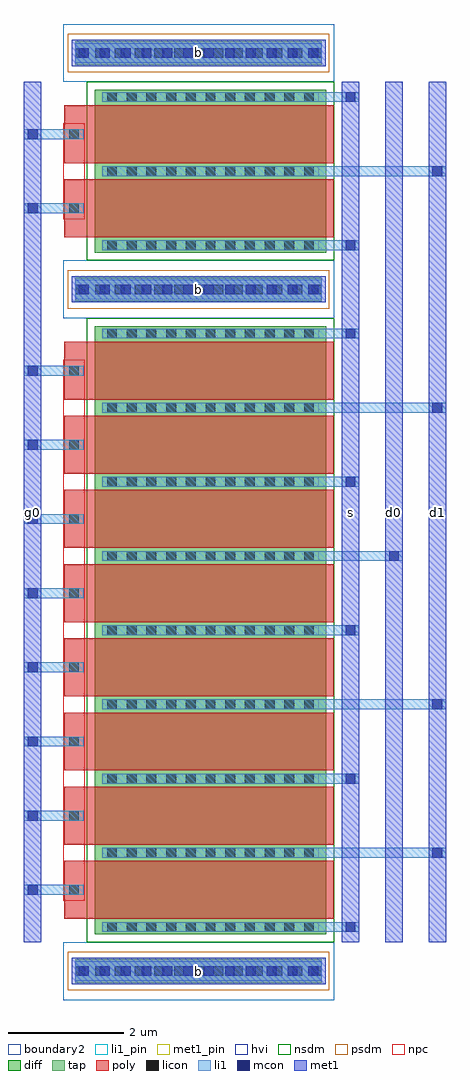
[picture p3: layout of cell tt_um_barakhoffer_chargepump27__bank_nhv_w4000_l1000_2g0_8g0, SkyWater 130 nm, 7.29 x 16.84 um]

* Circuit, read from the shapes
.subckt tt_um_barakhoffer_chargepump27__bank_nhv_w4000_l1000_2g0_8g0 b d0 d1 g0 s
XM1 d1 g0 s b sky130_fd_pr__nfet_g5v0d10v5 w=4 l=1 m=8
XM2 d0 g0 s b sky130_fd_pr__nfet_g5v0d10v5 w=4 l=1 m=2
.ends

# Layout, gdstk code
import gdstk
lib = gdstk.Library(unit=1e-6, precision=1e-09)
def R(c, l, rs):  # rectangles x0, y0, x1, y1
    for r in rs: c.add(gdstk.rectangle(r[:2], r[2:], *l))
def A(c, l, x, y, w, h, nx, ny, dx, dy):  # array of equal rectangles
    R(c, l, [(x+i*dx, y+j*dy, x+i*dx+w, y+j*dy+h) for i in range(nx) for j in range(ny)])
diff = (65, 20)
tap = (65, 44)
poly = (66, 20)
licon = (66, 44)
li1_pin = (67, 16)
li1 = (67, 20)
mcon = (67, 44)
met1_pin = (68, 16)
met1 = (68, 20)
hvi = (75, 20)
nsdm = (93, 44)
psdm = (94, 20)
npc = (95, 20)
boundary2 = (236, 0)

tt_um_barakhoffer_charge = lib.new_cell('tt_um_barakhoffer_chargepump27__mos_13')
A(tt_um_barakhoffer_charge, diff, 0.155, 0, 3.69, 0.25, 1, 9, 0, 1.28)
R(tt_um_barakhoffer_charge, diff, [(0,0,4,10.49)])
A(tt_um_barakhoffer_charge, poly, -0.52, 0.265, 0.33, 1, 1, 8, 0, 1.28)
A(tt_um_barakhoffer_charge, poly, -0.19, 0.265, 4.32, 1, 1, 8, 0, 1.28)
A(tt_um_barakhoffer_charge, poly, -0.52, 0.63, 0.33, 0.27, 1, 8, 0, 1.28)
A(tt_um_barakhoffer_charge, licon, 0.215, 0.04, 0.17, 0.17, 11, 9, 0.34, 1.28)
A(tt_um_barakhoffer_charge, licon, -0.44, 0.68, 0.17, 0.17, 1, 8, 0, 1.28)
A(tt_um_barakhoffer_charge, li1_pin, 0.135, 0.04, 3.73, 0.17, 1, 9, 0, 1.28)
A(tt_um_barakhoffer_charge, li1_pin, -0.52, 0.68, 0.33, 0.17, 1, 8, 0, 1.28)
R(tt_um_barakhoffer_charge, li1, [(0.135,0.04,3.865,0.21), (0.135,0.04,3.865,0.21), (-0.52,0.68,-0.19,0.85), (-0.52,0.68,-0.19,0.85), (0.135,1.32,3.865,1.49), (0.135,1.32,3.865,1.49), (-0.52,1.96,-0.19,2.13), (-0.52,1.96,-0.19,2.13), (0.135,2.6,3.865,2.77), (0.135,2.6,3.865,2.77), (-0.52,3.24,-0.19,3.41), (-0.52,3.24,-0.19,3.41), (0.135,3.88,3.865,4.05), (0.135,3.88,3.865,4.05), (-0.52,4.52,-0.19,4.69), (-0.52,4.52,-0.19,4.69), (0.135,5.16,3.865,5.33), (0.135,5.16,3.865,5.33), (-0.52,5.8,-0.19,5.97), (-0.52,5.8,-0.19,5.97), (0.135,6.44,3.865,6.61), (0.135,6.44,3.865,6.61), (-0.52,7.08,-0.19,7.25), (-0.52,7.08,-0.19,7.25), (0.135,7.72,3.865,7.89), (0.135,7.72,3.865,7.89), (-0.52,8.36,-0.19,8.53), (-0.52,8.36,-0.19,8.53), (0.135,9,3.865,9.17), (0.135,9,3.865,9.17), (-0.52,9.64,-0.19,9.81), (-0.52,9.64,-0.19,9.81), (0.135,10.28,3.865,10.45), (0.135,10.28,3.865,10.45)])
R(tt_um_barakhoffer_charge, hvi, [(-0.135,-0.135,4.135,10.625)])
R(tt_um_barakhoffer_charge, nsdm, [(-0.135,-0.135,4.135,10.625)])
A(tt_um_barakhoffer_charge, npc, -0.54, 0.58, 0.37, 0.37, 1, 8, 0, 1.28)
R(tt_um_barakhoffer_charge, npc, [(-0.54,0.58,-0.17,9.91)])
tt_um_barakhoffer_charge.add(gdstk.Label('gate_1', (-0.355,2.045), layer=67, texttype=5))
tt_um_barakhoffer_charge.add(gdstk.Label('gate_2', (-0.355,3.325), layer=67, texttype=5))
tt_um_barakhoffer_charge.add(gdstk.Label('sd_0_4', (2,5.245), layer=67, texttype=5))
tt_um_barakhoffer_charge.add(gdstk.Label('sd_0_1', (2,1.405), layer=67, texttype=5))
tt_um_barakhoffer_charge.add(gdstk.Label('sd_0_5', (2,6.525), layer=67, texttype=5))
tt_um_barakhoffer_charge.add(gdstk.Label('gate_3', (-0.355,4.605), layer=67, texttype=5))
tt_um_barakhoffer_charge.add(gdstk.Label('gate_7', (-0.355,9.725), layer=67, texttype=5))
tt_um_barakhoffer_charge.add(gdstk.Label('sd_0_2', (2,2.685), layer=67, texttype=5))
tt_um_barakhoffer_charge.add(gdstk.Label('gate_4', (-0.355,5.885), layer=67, texttype=5))
tt_um_barakhoffer_charge.add(gdstk.Label('sd_0_6', (2,7.805), layer=67, texttype=5))
tt_um_barakhoffer_charge.add(gdstk.Label('sd_0_3', (2,3.965), layer=67, texttype=5))
tt_um_barakhoffer_charge.add(gdstk.Label('sd_0_7', (2,9.085), layer=67, texttype=5))
tt_um_barakhoffer_charge.add(gdstk.Label('sd_0_8', (2,10.365), layer=67, texttype=5))
tt_um_barakhoffer_charge.add(gdstk.Label('sd_0_0', (2,0.125), layer=67, texttype=5))
tt_um_barakhoffer_charge.add(gdstk.Label('gate_6', (-0.355,8.445), layer=67, texttype=5))
tt_um_barakhoffer_charge.add(gdstk.Label('gate_5', (-0.355,7.165), layer=67, texttype=5))
tt_um_barakhoffer_charge.add(gdstk.Label('gate_0', (-0.355,0.765), layer=67, texttype=5))

c_tt_um_barakhoffer_charge = lib.new_cell('tt_um_barakhoffer_chargepump27__mos_14')
A(c_tt_um_barakhoffer_charge, diff, 0.155, 0, 3.69, 0.25, 1, 3, 0, 1.28)
R(c_tt_um_barakhoffer_charge, diff, [(0,0,4,2.81)])
R(c_tt_um_barakhoffer_charge, poly, [(-0.52,0.265,-0.19,1.265), (-0.19,0.265,4.13,1.265), (-0.52,0.63,-0.19,0.9), (-0.52,1.545,-0.19,2.545), (-0.19,1.545,4.13,2.545), (-0.52,1.91,-0.19,2.18)])
A(c_tt_um_barakhoffer_charge, licon, 0.215, 0.04, 0.17, 0.17, 11, 3, 0.34, 1.28)
R(c_tt_um_barakhoffer_charge, licon, [(-0.44,0.68,-0.27,0.85), (-0.44,1.96,-0.27,2.13)])
A(c_tt_um_barakhoffer_charge, li1_pin, 0.135, 0.04, 3.73, 0.17, 1, 3, 0, 1.28)
R(c_tt_um_barakhoffer_charge, li1_pin, [(-0.52,0.68,-0.19,0.85), (-0.52,1.96,-0.19,2.13)])
R(c_tt_um_barakhoffer_charge, li1, [(0.135,0.04,3.865,0.21), (0.135,0.04,3.865,0.21), (-0.52,0.68,-0.19,0.85), (-0.52,0.68,-0.19,0.85), (0.135,1.32,3.865,1.49), (0.135,1.32,3.865,1.49), (-0.52,1.96,-0.19,2.13), (-0.52,1.96,-0.19,2.13), (0.135,2.6,3.865,2.77), (0.135,2.6,3.865,2.77)])
R(c_tt_um_barakhoffer_charge, hvi, [(-0.135,-0.135,4.135,2.945)])
R(c_tt_um_barakhoffer_charge, nsdm, [(-0.135,-0.135,4.135,2.945)])
R(c_tt_um_barakhoffer_charge, npc, [(-0.54,0.58,-0.17,0.95), (-0.54,0.58,-0.17,2.23), (-0.54,1.86,-0.17,2.23)])
c_tt_um_barakhoffer_charge.add(gdstk.Label('sd_0_1', (2,1.405), layer=67, texttype=5))
c_tt_um_barakhoffer_charge.add(gdstk.Label('sd_0_2', (2,2.685), layer=67, texttype=5))
c_tt_um_barakhoffer_charge.add(gdstk.Label('sd_0_0', (2,0.125), layer=67, texttype=5))
c_tt_um_barakhoffer_charge.add(gdstk.Label('gate_1', (-0.355,2.045), layer=67, texttype=5))
c_tt_um_barakhoffer_charge.add(gdstk.Label('gate_0', (-0.355,0.765), layer=67, texttype=5))

c_tt_um_barakhoffer_charge_ = lib.new_cell('tt_um_barakhoffer_chargepump27__bank_nhv_w4000_l1000_2g0_8g0')
R(c_tt_um_barakhoffer_charge_, tap, [(0.21,0.295,4.46,0.705), (0.21,12.055,4.46,12.465), (0.21,16.135,4.46,16.545)])
A(c_tt_um_barakhoffer_charge_, licon, 0.21, 0.415, 0.17, 0.17, 13, 2, 0.34, 11.76)
A(c_tt_um_barakhoffer_charge_, licon, 0.21, 16.255, 0.17, 0.17, 13, 1, 0.34, 0)
A(c_tt_um_barakhoffer_charge_, li1, 0.675, 1.175, 4.43, 0.17, 1, 5, 0, 2.56)
A(c_tt_um_barakhoffer_charge_, li1, 4.87, 1.175, 0.17, 0.17, 1, 5, 0, 2.56)
A(c_tt_um_barakhoffer_charge_, li1, -0.68, 1.815, 1.03, 0.17, 1, 8, 0, 1.28)
A(c_tt_um_barakhoffer_charge_, li1, -0.615, 1.815, 0.17, 0.17, 1, 8, 0, 1.28)
R(c_tt_um_barakhoffer_charge_, li1, [(0.21,0.335,4.46,0.665), (0.27,0.415,4.4,0.585), (0.675,2.455,6.605,2.625), (6.37,2.455,6.54,2.625), (0.675,5.015,6.605,5.185), (6.37,5.015,6.54,5.185), (0.675,7.575,5.855,7.745), (5.62,7.575,5.79,7.745), (0.675,10.135,6.605,10.305), (6.37,10.135,6.54,10.305), (0.21,12.095,4.46,12.425), (0.27,12.175,4.4,12.345), (0.675,12.935,5.105,13.105), (4.87,12.935,5.04,13.105), (-0.68,13.575,0.35,13.745), (-0.615,13.575,-0.445,13.745), (0.675,14.215,6.605,14.385), (6.37,14.215,6.54,14.385), (-0.68,14.855,0.35,15.025), (-0.615,14.855,-0.445,15.025), (0.675,15.495,5.105,15.665), (4.87,15.495,5.04,15.665), (0.21,16.175,4.46,16.505), (0.27,16.255,4.4,16.425)])
A(c_tt_um_barakhoffer_charge_, mcon, 0.27, 0.415, 0.17, 0.17, 12, 2, 0.36, 11.76)
A(c_tt_um_barakhoffer_charge_, mcon, 4.87, 1.175, 0.17, 0.17, 1, 5, 0, 2.56)
A(c_tt_um_barakhoffer_charge_, mcon, -0.615, 1.815, 0.17, 0.17, 1, 8, 0, 1.28)
A(c_tt_um_barakhoffer_charge_, mcon, 0.27, 16.255, 0.17, 0.17, 12, 1, 0.36, 0)
R(c_tt_um_barakhoffer_charge_, mcon, [(6.37,2.455,6.54,2.625), (6.37,5.015,6.54,5.185), (5.62,7.575,5.79,7.745), (6.37,10.135,6.54,10.305), (4.87,12.935,5.04,13.105), (-0.615,13.575,-0.445,13.745), (6.37,14.215,6.54,14.385), (-0.615,14.855,-0.445,15.025), (4.87,15.495,5.04,15.665)])
A(c_tt_um_barakhoffer_charge_, met1_pin, 4.805, 1, 0.3, 14.84, 3, 1, 0.75, 0)
R(c_tt_um_barakhoffer_charge_, met1_pin, [(0.15,0.275,4.525,0.725), (-0.68,1,-0.38,15.84), (0.15,12.035,4.525,12.485), (0.15,16.115,4.525,16.565)])
A(c_tt_um_barakhoffer_charge_, met1, 4.81, 1.145, 0.29, 0.23, 1, 5, 0, 2.56)
A(c_tt_um_barakhoffer_charge_, met1, -0.675, 1.785, 0.29, 0.23, 1, 8, 0, 1.28)
R(c_tt_um_barakhoffer_charge_, met1, [(0.15,0.275,4.525,0.725), (0.15,0.275,4.525,0.725), (0.21,0.385,4.46,0.615), (-0.68,1,-0.38,15.84), (-0.68,1,-0.38,15.84), (4.805,1,5.105,15.84), (4.805,1,5.105,15.84), (5.555,1,5.855,15.84), (5.555,1,5.855,15.84), (6.305,1,6.605,15.84), (6.305,1,6.605,15.84), (6.31,2.425,6.6,2.655), (6.31,4.985,6.6,5.215), (5.56,7.545,5.85,7.775), (6.31,10.105,6.6,10.335), (0.15,12.035,4.525,12.485), (0.15,12.035,4.525,12.485), (0.21,12.145,4.46,12.375), (4.81,12.905,5.1,13.135), (-0.675,13.545,-0.385,13.775), (6.31,14.185,6.6,14.415), (-0.675,14.825,-0.385,15.055), (4.81,15.465,5.1,15.695), (0.15,16.115,4.525,16.565), (0.15,16.115,4.525,16.565), (0.21,16.225,4.46,16.455)])
R(c_tt_um_barakhoffer_charge_, psdm, [(0.08,0.165,4.59,0.835), (0.08,11.925,4.59,12.595), (0.08,16.005,4.59,16.675)])
R(c_tt_um_barakhoffer_charge_, boundary2, [(0,0,4.675,1), (0,11.76,4.675,12.76), (0,15.84,4.675,16.84)])
c_tt_um_barakhoffer_charge_.add(gdstk.Reference(tt_um_barakhoffer_charge, (0.54,1.135)))
c_tt_um_barakhoffer_charge_.add(gdstk.Reference(c_tt_um_barakhoffer_charge, (0.54,12.895)))
c_tt_um_barakhoffer_charge_.add(gdstk.Label('s', (4.955,8.42), layer=68, texttype=5))
c_tt_um_barakhoffer_charge_.add(gdstk.Label('d0', (5.705,8.42), layer=68, texttype=5))
c_tt_um_barakhoffer_charge_.add(gdstk.Label('b', (2.337,0.5), layer=68, texttype=5))
c_tt_um_barakhoffer_charge_.add(gdstk.Label('b', (2.337,12.26), layer=68, texttype=5))
c_tt_um_barakhoffer_charge_.add(gdstk.Label('b', (2.337,16.34), layer=68, texttype=5))
c_tt_um_barakhoffer_charge_.add(gdstk.Label('d1', (6.455,8.42), layer=68, texttype=5))
c_tt_um_barakhoffer_charge_.add(gdstk.Label('g0', (-0.53,8.42), layer=68, texttype=5))

lib.write_gds('tt_um_barakhoffer_chargepump27__bank_nhv_w4000_l1000_2g0_8g0.gds')
